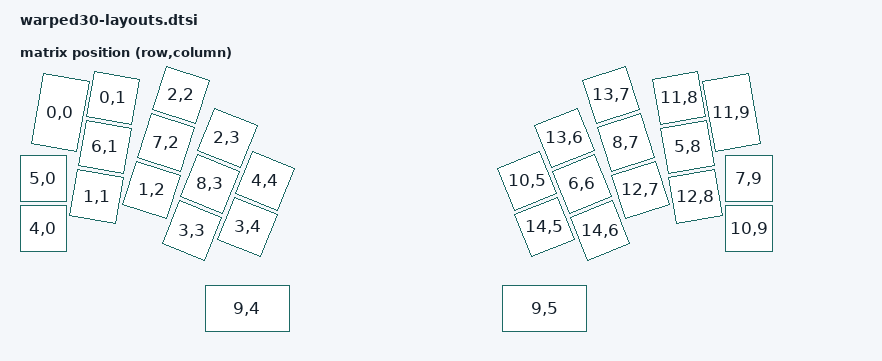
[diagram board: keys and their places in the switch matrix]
#include <physical_layouts.dtsi>

    /* Physical layout close to this:
     *
     * ┌───┬───┬───┬───┐          ┌───┬───┬───┬───┐
     * │ Q │ W │ E │ R ├───┐  ┌───┤ U │ I │ O │ P │
     * ├───┼───┼───┼───┤ T │  │ Y ├───┼───┼───┼───┤
     * │ A │ S │ D │ F ├───┤  ├───┤ J │ K │ L │ ; │
     * ├───┼───┼───┼───┤ G │  │ H ├───┼───┼───┼───┤
     * │ Z │ X │ C │ V ├───┘  └───┤ M │ , │ . │ / │
     * └───┴───┴───┴───┘          └───┴───┴───┴───┘
     *                 ┌───┐  ┌───┐
     *                 │ B │  │ N │
     *                 └───┘  └───┘
     *
     * Logical rows as used in the DTSI file:
     *
     * Q        W       E       R       T          Y       U       I       O       P
     * A        S       D       F       G          H       J       K       L       ;
     * Z        X       C       V       B          N       M       ,       .       /
     *
     * The RC(#, #) columns and row value below are the scanning matrix (GPIOs),
     * scanning rows are not physical! Scanning cols 0-4 on left, then 5-9 on the right.
     */

/ {

    matrix_transform30: matrix_transform30 {
        compatible = "zmk,matrix-transform";
        columns = <10>;
        rows = <15>;
        map = <
            RC(0,0) RC(0,1) RC(2,2) RC(2,3) RC(4,4)     RC(10,5) RC(13,6) RC(13,7) RC(11,8) RC(11,9)
            RC(5,0) RC(6,1) RC(7,2) RC(8,3) RC(3,4)     RC(14,5) RC(6,6)  RC(8,7)  RC(5,8)  RC(7,9)
            RC(4,0) RC(1,1) RC(1,2) RC(3,3) RC(9,4)     RC(9,5)  RC(14,6) RC(12,7) RC(12,8) RC(10,9)
        >;
    };

    physical_layout30: physical_layout30 {
        compatible = "zmk,physical-layout";
        display-name = "LAYOUT";

        kscan = <&kscan0>;
        transform = <&matrix_transform30>;

        keys  //                     w   h    x    y     rot    rx    ry
            = <&key_physical_attrs 100 150   35   11    1000    87    83>
            , <&key_physical_attrs 100 100  140    6    1000   190    56>
            , <&key_physical_attrs 100 100  276    0    1800   326    50>
            , <&key_physical_attrs 100 100  369   86    2200   419   136>
            , <&key_physical_attrs 100 100  444  172    2200   494   222>
            , <&key_physical_attrs 100 100  968  172 (-2200)  1018   222>
            , <&key_physical_attrs 100 100 1043   86 (-2200)  1093   136>
            , <&key_physical_attrs 100 100 1136    0 (-1800)  1186    50>
            , <&key_physical_attrs 100 100 1272    6 (-1000)  1322    56>
            , <&key_physical_attrs 100 150 1377   11 (-1000)  1426    83>
            , <&key_physical_attrs 100 100    0  168       0     0     0>
            , <&key_physical_attrs 100 100  124  104    1000   174   154>
            , <&key_physical_attrs 100 100  246   95    1800   296   145>
            , <&key_physical_attrs 100 100  334  178    2200   384   228>
            , <&key_physical_attrs 100 100  409  264    2200   459   314>
            , <&key_physical_attrs 100 100 1003  264 (-2200)  1053   314>
            , <&key_physical_attrs 100 100 1078  178 (-2200)  1128   228>
            , <&key_physical_attrs 100 100 1166   95 (-1800)  1216   145>
            , <&key_physical_attrs 100 100 1289  104 (-1000)  1339   154>
            , <&key_physical_attrs 100 100 1412  168       0     0     0>
            , <&key_physical_attrs 100 100    0  268       0     0     0>
            , <&key_physical_attrs 100 100  107  203    1000   157   253>
            , <&key_physical_attrs 100 100  217  190    1800   267   240>
            , <&key_physical_attrs 100 100  298  271    2200   348   321>
            , <&key_physical_attrs 175 100  371  428       0     0     0>
            , <&key_physical_attrs 175 100  966  428       0     0     0>
            , <&key_physical_attrs 100 100 1114  271 (-2200)  1164   321>
            , <&key_physical_attrs 100 100 1195  190 (-1800)  1245   240>
            , <&key_physical_attrs 100 100 1305  203 (-1000)  1355   253>
            , <&key_physical_attrs 100 100 1412  268       0     0     0>
            ;
    };
};
